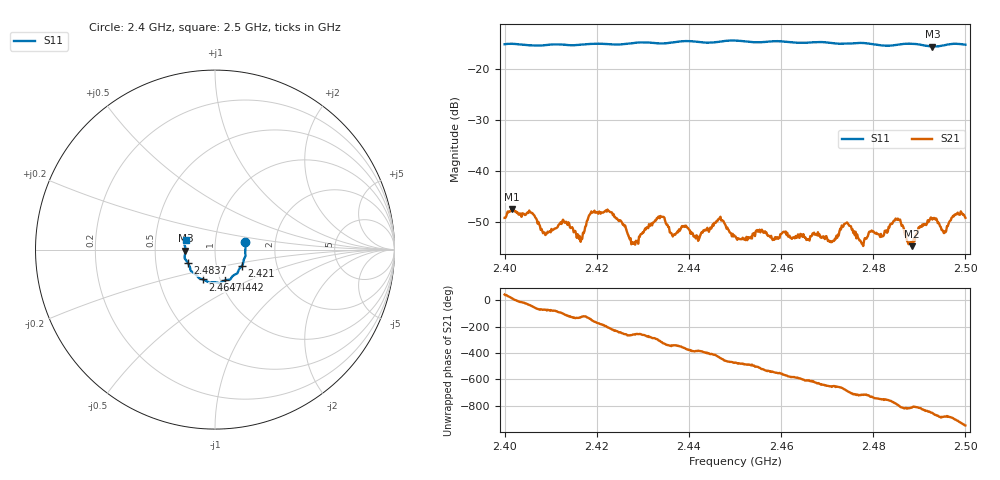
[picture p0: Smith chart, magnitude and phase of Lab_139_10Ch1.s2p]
# Hz S RI R 50
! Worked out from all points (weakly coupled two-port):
!   601 points, 2.4 GHz to 2.5 GHz, reference 50 ohm
!   highest |S21| = -47.40 dB at 2.4015 GHz (marker M1); lowest = -54.7 dB at 2.4883 GHz (marker M2)
!   lowest |S11| = -15.7 dB at 2.4928 GHz (marker M3), VSWR 1.40, Z = 35.8 - j0.393 ohm
!   |S11| at or under -10 dB: start of sweep to end of sweep
!   S12 and S22 are empty: the file has one direction only
!   S11 on the Smith chart (normalised r, x): 2.4 GHz: 1.40, +0.12; 2.421 GHz: 1.33, -0.24; 2.4442 GHz: 1.05, -0.37; 2.4647 GHz: 0.83, -0.28; 2.4837 GHz: 0.73, -0.11; 2.5 GHz: 0.71, +0.08
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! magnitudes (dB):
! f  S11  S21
! 2.4 GHz  -15.2  -49.2
! 2.4015 GHz  -15.1  -47.4
! 2.4167 GHz  -15.3  -53.1
! 2.4187 GHz  -15.1  -48.2
! 2.421 GHz  -15.1  -48.1
! 2.428 GHz  -15.0  -54.2
! 2.4333 GHz  -15.0  -48.9
! 2.4365 GHz  -14.9  -52.8
! 2.4442 GHz  -14.9  -51.5
! 2.4468 GHz  -14.7  -48.9
! 2.45 GHz  -14.5  -52.8
! 2.4647 GHz  -14.9  -52.9
! 2.4667 GHz  -14.8  -52.7
! 2.4742 GHz  -15.1  -50.1
! 2.4775 GHz  -15.0  -54.2
! 2.4833 GHz  -15.5  -50.9
! 2.4837 GHz  -15.5  -50.4
! 2.4853 GHz  -15.3  -49.3
! 2.4883 GHz  -15.1  -54.7
! 2.4928 GHz  -15.7  -49.5
! 2.4953 GHz  -15.4  -52.1
! 2.5 GHz  -15.3  -49.1
